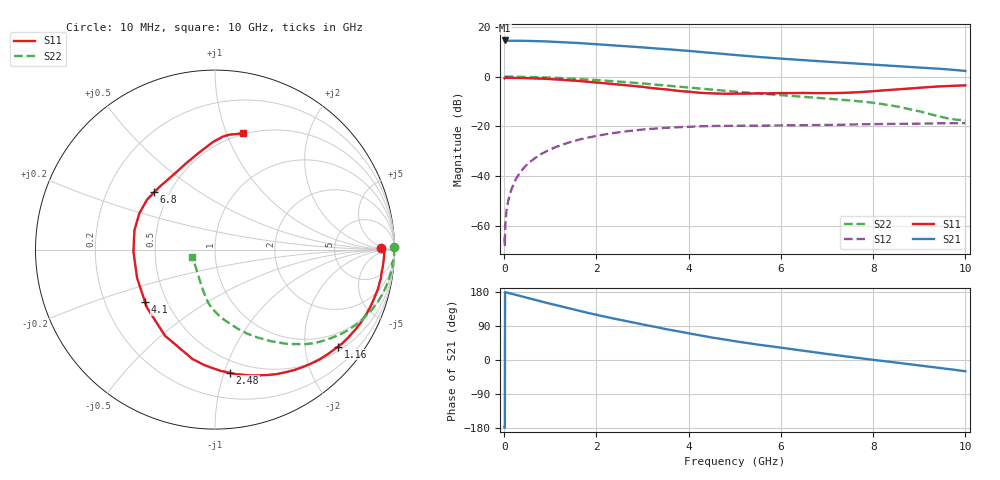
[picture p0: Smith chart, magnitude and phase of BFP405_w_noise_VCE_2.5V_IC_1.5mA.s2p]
! Infineon Technologies  Discrete & RF Semiconductors
! BFP405
! VCE =  2.5 V,  IC =  1.5 mA
! Common Emitter S-Parameters:  Jan 2016
# GHz  S  MA  R  50
!  f  S11  S21  S12  S22
! GHz  MAG  ANG  MAG  ANG  MAG  ANG  MAG  ANG
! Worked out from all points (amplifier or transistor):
!   233 points, 10 MHz to 10 GHz, reference 50 ohm
!   highest |S21| = 14.5 dB at 10 MHz (marker M1)
!   |S21| within 3 dB of that: start of sweep to 3.148 GHz
!   unconditionally stable (mu >= 1): 4.727 GHz to end of sweep
!   at 200 MHz: K = 0.02, MSG = 28.8 dB, |S12| = -43.3 dB
!   at 1.74 GHz: K = 0.26, MSG = 19.0 dB, |S12| = -24.8 dB
!   at 10 GHz: K = 1.81, MAG = 5.2 dB, |S12| = -18.7 dB
!   lowest NFmin = 0.79 dB at 900 MHz
!   S11 on the Smith chart (normalised r, x): 10 MHz: 25, +2; 1.16 GHz: 0.61, -2.76; 2.48 GHz: 0.40, -1.05; 4.1 GHz: 0.38, -0.29; 6.8 GHz: 0.41, +0.34; 10 GHz: 0.49, +1.14
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0.01  0.9223 0.4  5.285 -177.1  0.0006 -27.4  1 0.7
0.015  0.9333 -0.1  5.238 -179.0  0.0004 44.9  0.9973 0.4
0.02  0.9443 -0.5  5.197 179.0  0.0008 90.5  0.9946 0.1
0.05  0.9431 -1.9  5.181 178.6  0.002 101.4  0.9977 -0.5
0.09  0.9423 -3.0  5.206 176.9  0.0033 90.0  0.9981 -1.5
0.28  0.9374 -9.1  5.217 171.2  0.0097 85.5  0.9917 -4.9
0.5  0.9287 -16.3  5.185 164.1  0.0174 81.6  0.9852 -8.7
0.76  0.9118 -25.0  5.103 155.9  0.0264 76.8  0.9713 -13.2
1.16  0.8729 -38.3  4.939 143.5  0.0399 69.3  0.9409 -20.0
1.4  0.8444 -46.4  4.811 136.3  0.0476 64.8  0.9179 -23.9
1.68  0.8069 -55.7  4.645 128.2  0.056 59.5  0.8879 -28.3
2  0.7607 -66.6  4.444 119.3  0.0649 53.7  0.8516 -33.0
2.48  0.6916 -83.1  4.142 106.8  0.0763 45.5  0.7932 -39.6
2.98  0.6248 -100.9  3.852 94.3  0.0865 37.4  0.7302 -46.1
3.4  0.5636 -116.1  3.603 84.3  0.0926 30.8  0.6742 -51.3
4.1  0.4862 -143.3  3.201 68.2  0.0997 21.3  0.5883 -59.5
4.5  0.4621 -159.9  2.982 59.4  0.1023 16.4  0.545 -64.1
5.1  0.4535 178.5  2.66 47.8  0.1037 10.3  0.49 -70.2
6  0.4674 154.6  2.287 32.4  0.1045 3.7  0.4244 -78.1
6.8  0.4654 136.6  2.038 19.4  0.1066 -0.6  0.374 -85.5
8.4  0.5442 100.0  1.631 -5.3  0.1124 -9.3  0.2628 -102.1
10  0.6661 76.5  1.297 -29.7  0.1168 -16.4  0.1329 -160.8
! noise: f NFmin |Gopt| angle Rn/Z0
0.9  0.79  0.64  15  0.47
1.8  1.18  0.51  29  0.42
2.4  1.41  0.42  40  0.39
3  1.48  0.42  55  0.36
4  1.72  0.3  82  0.27
5  2.06  0.26  118  0.21
